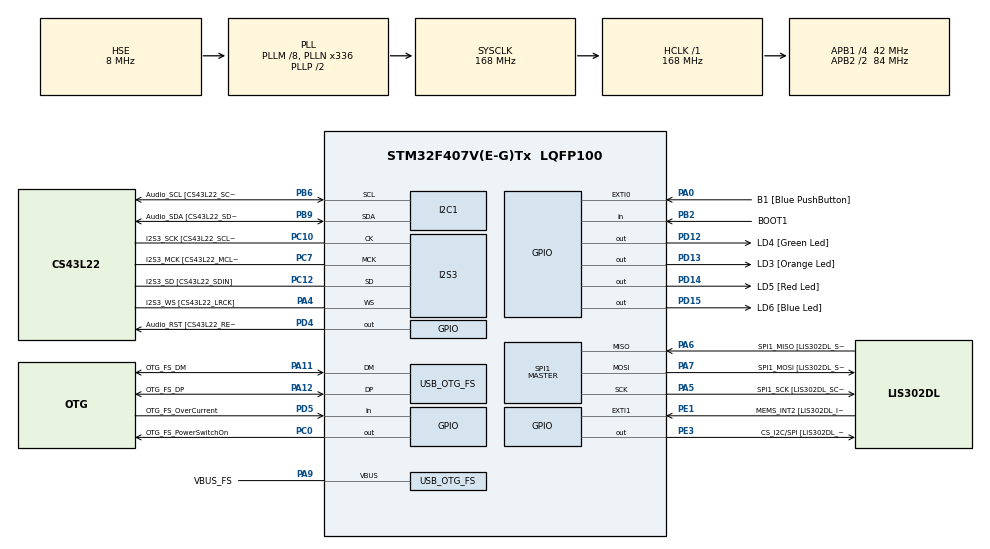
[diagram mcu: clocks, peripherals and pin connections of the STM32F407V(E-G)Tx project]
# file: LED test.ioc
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I2S3.AudioFreq-Half_Duplex_Master=I2S_AUDIOFREQ_96K
I2S3.ErrorAudioFreq=-2.34 %
I2S3.ErrorAudioFreq-Half_Duplex_Master=0.8 %
I2S3.FullDuplexMode=I2S_FULLDUPLEXMODE_DISABLE
I2S3.Instance=SPI$Index
I2S3.RealAudioFreq=93.75 KHz
I2S3.RealAudioFreq-Half_Duplex_Master=96.774 KHz
I2S3.VirtualMode=I2S_MODE_MASTER
Mcu.Family=STM32F4
Mcu.Name=STM32F407V(E-G)Tx
Mcu.Package=LQFP100
NVIC.OTG_FS_IRQn=true\:0\:0\:false\:false\:true\:true\:true
NVIC.PriorityGroup=NVIC_PRIORITYGROUP_0
PA0-WKUP.GPIO_Label=B1 [Blue PushButton]
PA0-WKUP.GPIO_ModeDefaultEXTI=GPIO_MODE_EVT_RISING
PA0-WKUP.GPIO_PuPd=GPIO_NOPULL
PA0-WKUP.Signal=GPXTI0
PA10.GPIO_Label=OTG_FS_ID
PA10.GPIO_Mode=GPIO_MODE_AF_PP
PA10.GPIO_PuPd=GPIO_NOPULL
PA10.GPIO_Speed=GPIO_SPEED_FREQ_LOW
PA10.Signal=USB_OTG_FS_ID
PA11.GPIO_Label=OTG_FS_DM
PA11.GPIO_Mode=GPIO_MODE_AF_PP
PA11.GPIO_PuPd=GPIO_NOPULL
PA11.GPIO_Speed=GPIO_SPEED_FREQ_LOW
PA11.Mode=Host_Only
PA11.Signal=USB_OTG_FS_DM
PA12.GPIO_Label=OTG_FS_DP
PA12.GPIO_Mode=GPIO_MODE_AF_PP
PA12.GPIO_PuPd=GPIO_NOPULL
PA12.GPIO_Speed=GPIO_SPEED_FREQ_LOW
PA12.Mode=Host_Only
PA12.Signal=USB_OTG_FS_DP
PA13.GPIO_Label=SWDIO
PA13.Mode=Serial_Wire
PA13.Signal=SYS_JTMS-SWDIO
PA14.GPIO_Label=SWCLK
PA14.Mode=Serial_Wire
PA14.Signal=SYS_JTCK-SWCLK
PA4.GPIO_Label=I2S3_WS [CS43L22_LRCK]
PA4.GPIO_Mode=GPIO_MODE_AF_PP
PA4.GPIO_PuPd=GPIO_NOPULL
PA4.GPIO_Speed=GPIO_SPEED_FREQ_LOW
PA4.Mode=Half_Duplex_Master
PA4.Signal=I2S3_WS
PA5.GPIO_Label=SPI1_SCK [LIS302DL_SCL/SPC]
PA5.GPIO_Mode=GPIO_MODE_AF_PP
PA5.GPIO_PuPd=GPIO_NOPULL
PA5.GPIO_Speed=GPIO_SPEED_FREQ_LOW
PA5.Mode=Full_Duplex_Master
PA5.Signal=SPI1_SCK
PA6.GPIO_Label=SPI1_MISO [LIS302DL_SDO]
PA6.GPIO_Mode=GPIO_MODE_AF_PP
PA6.GPIO_PuPd=GPIO_NOPULL
PA6.GPIO_Speed=GPIO_SPEED_FREQ_LOW
PA6.Mode=Full_Duplex_Master
PA6.Signal=SPI1_MISO
PA7.GPIO_Label=SPI1_MOSI [LIS302DL_SDA/SDI/SDO]
PA7.GPIO_Mode=GPIO_MODE_AF_PP
PA7.GPIO_PuPd=GPIO_NOPULL
PA7.GPIO_Speed=GPIO_SPEED_FREQ_LOW
PA7.Mode=Full_Duplex_Master
PA7.Signal=SPI1_MOSI
PA9.GPIO_Label=VBUS_FS
PA9.GPIO_Mode=GPIO_MODE_INPUT
PA9.GPIO_PuPd=GPIO_NOPULL
PA9.Mode=Activate_VBUS
PA9.Signal=USB_OTG_FS_VBUS
PB10.GPIO_Label=CLK_IN [MP45DT02_CLK]
PB10.GPIO_Mode=GPIO_MODE_AF_PP
PB10.GPIO_PuPd=GPIO_NOPULL
PB10.GPIO_Speed=GPIO_SPEED_FREQ_LOW
PB10.Signal=I2S2_CK
PB2.GPIO_Label=BOOT1
PB2.GPIO_Mode=GPIO_MODE_INPUT
PB2.GPIO_PuPd=GPIO_NOPULL
PB2.Signal=GPIO_Input
PB3.GPIO_Label=SWO
PB3.Signal=SYS_JTDO-SWO
PB6.GPIO_Label=Audio_SCL [CS43L22_SCL]
PB6.GPIO_Mode=GPIO_MODE_AF_OD
PB6.GPIO_PuPd=GPIO_NOPULL
PB6.GPIO_Speed=GPIO_SPEED_FREQ_LOW
PB6.Mode=I2C
PB6.Signal=I2C1_SCL
PB9.GPIO_Label=Audio_SDA [CS43L22_SDA]
PB9.GPIO_Mode=GPIO_MODE_AF_OD
PB9.GPIO_PuPd=GPIO_NOPULL
PB9.GPIO_Speed=GPIO_SPEED_FREQ_LOW
PB9.Mode=I2C
PB9.Signal=I2C1_SDA
PC0.GPIO_Label=OTG_FS_PowerSwitchOn
PC0.GPIO_PuPd=GPIO_NOPULL
PC0.GPIO_Speed=GPIO_SPEED_FREQ_LOW
PC0.PinState=GPIO_PIN_SET
PC0.Signal=GPIO_Output
PC10.GPIO_Label=I2S3_SCK [CS43L22_SCLK]
PC10.GPIO_Mode=GPIO_MODE_AF_PP
PC10.GPIO_PuPd=GPIO_NOPULL
PC10.GPIO_Speed=GPIO_SPEED_FREQ_LOW
PC10.Mode=Half_Duplex_Master
PC10.Signal=I2S3_CK
PC12.GPIO_Label=I2S3_SD [CS43L22_SDIN]
PC12.GPIO_Mode=GPIO_MODE_AF_PP
PC12.GPIO_PuPd=GPIO_NOPULL
PC12.GPIO_Speed=GPIO_SPEED_FREQ_LOW
PC12.Mode=Half_Duplex_Master
PC12.Signal=I2S3_SD
PC14-OSC32_IN.GPIO_Label=PC14-OSC32_IN
PC14-OSC32_IN.Mode=LSE-External-Oscillator
PC14-OSC32_IN.Signal=RCC_OSC32_IN
PC15-OSC32_OUT.GPIO_Label=PC15-OSC32_OUT
PC15-OSC32_OUT.Mode=LSE-External-Oscillator
PC15-OSC32_OUT.Signal=RCC_OSC32_OUT
PC3.GPIO_Label=PDM_OUT [MP45DT02_DOUT]
PC3.GPIO_Mode=GPIO_MODE_AF_PP
PC3.GPIO_PuPd=GPIO_NOPULL
PC3.GPIO_Speed=GPIO_SPEED_FREQ_LOW
PC3.Signal=I2S2_SD
PC7.GPIO_Label=I2S3_MCK [CS43L22_MCLK]
PC7.GPIO_Mode=GPIO_MODE_AF_PP
PC7.GPIO_PuPd=GPIO_NOPULL
PC7.GPIO_Speed=GPIO_SPEED_FREQ_LOW
PC7.Mode=Master_Clock_Activated
PC7.Signal=I2S3_MCK
PD12.GPIO_Label=LD4 [Green Led]
PD12.GPIO_PuPd=GPIO_NOPULL
PD12.GPIO_Speed=GPIO_SPEED_FREQ_LOW
PD12.Signal=GPIO_Output
PD13.GPIO_Label=LD3 [Orange Led]
PD13.GPIO_PuPd=GPIO_NOPULL
PD13.GPIO_Speed=GPIO_SPEED_FREQ_LOW
PD13.Signal=GPIO_Output
PD14.GPIO_Label=LD5 [Red Led]
PD14.GPIO_PuPd=GPIO_NOPULL
PD14.GPIO_Speed=GPIO_SPEED_FREQ_LOW
PD14.Signal=GPIO_Output
PD15.GPIO_Label=LD6 [Blue Led]
PD15.GPIO_PuPd=GPIO_NOPULL
PD15.GPIO_Speed=GPIO_SPEED_FREQ_LOW
PD15.Signal=GPIO_Output
PD4.GPIO_Label=Audio_RST [CS43L22_RESET]
PD4.GPIO_PuPd=GPIO_NOPULL
PD4.GPIO_Speed=GPIO_SPEED_FREQ_LOW
PD4.Signal=GPIO_Output
PD5.GPIO_Label=OTG_FS_OverCurrent
PD5.GPIO_Mode=GPIO_MODE_INPUT
PD5.GPIO_PuPd=GPIO_NOPULL
PD5.Signal=GPIO_Input
PE1.GPIO_Label=MEMS_INT2 [LIS302DL_INT2]
PE1.GPIO_ModeDefaultEXTI=GPIO_MODE_EVT_RISING
PE1.GPIO_PuPd=GPIO_NOPULL
PE1.Signal=GPXTI1
PE3.GPIO_Label=CS_I2C/SPI [LIS302DL_CS_I2C/SPI]
PE3.GPIO_PuPd=GPIO_NOPULL
PE3.GPIO_Speed=GPIO_SPEED_FREQ_LOW
PE3.Signal=GPIO_Output
PH0-OSC_IN.GPIO_Label=PH0-OSC_IN
PH0-OSC_IN.Mode=HSE-External-Oscillator
PH0-OSC_IN.Signal=RCC_OSC_IN
PH1-OSC_OUT.GPIO_Label=PH1-OSC_OUT
PH1-OSC_OUT.Mode=HSE-External-Oscillator
PH1-OSC_OUT.Signal=RCC_OSC_OUT
ProjectManager.HeapSize=0x200
ProjectManager.StackSize=0x400
ProjectManager.TargetToolchain=TrueSTUDIO
RCC.48MHZClocksFreq_Value=48000000
RCC.AHBFreq_Value=168000000
RCC.APB1CLKDivider=RCC_HCLK_DIV4
RCC.APB1Freq_Value=42000000
RCC.APB1TimFreq_Value=84000000
RCC.APB2CLKDivider=RCC_HCLK_DIV2
RCC.APB2Freq_Value=84000000
RCC.APB2TimFreq_Value=168000000
RCC.CortexFreq_Value=168000000
RCC.HCLKFreq_Value=168000000
RCC.HSE_VALUE=8000000
RCC.HSI_VALUE=16000000
RCC.PLLM=8
RCC.PLLN=336
RCC.PLLQ=7
RCC.SYSCLKFreq_VALUE=168000000
RCC.SYSCLKSource=RCC_SYSCLKSOURCE_PLLCLK
RCC.VCOOutputFreq_Value=336000000
SPI1.BaudRatePrescaler-Full_Duplex_Master=SPI_BAUDRATEPRESCALER_2
SPI1.CalculateBaudRate-Full_Duplex_Master=42.0 MBits/s
SPI1.Direction=SPI_DIRECTION_2LINES
SPI1.Mode=SPI_MODE_MASTER
SPI1.Mode-Full_Duplex_Master=SPI_MODE_MASTER
SPI1.VirtualType=VM_MASTER
USB_HOST.BSP.number=1
USB_HOST.USBH_HandleTypeDef-CDC_FS=hUsbHostFS
USB_HOST.VirtualModeFS=Cdc
USB_HOST0.BSP.STBoard=false
USB_HOST0.BSP.api=Unknown
USB_HOST0.BSP.i2caddr=0
USB_HOST0.BSP.i2creg=0
USB_HOST0.BSP.instance=PC0
USB_HOST0.BSP.ip=GPIO
USB_HOST0.BSP.mode=Output
USB_HOST0.BSP.name=Drive_VBUS_FS
USB_HOST0.BSP.solution=PC0
USB_OTG_FS.VirtualMode=Host_Only
USB_OTG_FS.phy_itface=HCD_PHY_EMBEDDED
VP_USB_HOST_VS_USB_HOST_CDC_FS.Mode=CDC_FS
board=STM32F407G-DISC1

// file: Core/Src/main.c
/* USER CODE BEGIN Header */
/**
  ******************************************************************************
  * @file           : main.c
  * @brief          : Main program body
  ******************************************************************************
  * @attention
  *
  * <h2><center>&copy; Copyright (c) 2020 STMicroelectronics.
  * All rights reserved.</center></h2>
  *
  * This software component is licensed by ST under Ultimate Liberty license
  * SLA0044, the "License"; You may not use this file except in compliance with
  * the License. You may obtain a copy of the License at:
  *                             www.st.com/SLA0044
  *
  ******************************************************************************
  */
/* USER CODE END Header */
#include "main.h"
#include "i2c.h"
#include "i2s.h"
#include "spi.h"
#include "usb_host.h"
#include "gpio.h"

void SystemClock_Config(void);
void MX_USB_HOST_Process(void);

int main(void)
{

  /* MCU Configuration--------------------------------------------------------*/

  /* Reset of all peripherals, Initializes the Flash interface and the Systick. */
  HAL_Init();

  /* Configure the system clock */
  SystemClock_Config();

  /* Initialize all configured peripherals */
  MX_GPIO_Init();
  MX_I2C1_Init();
  MX_I2S3_Init();
  MX_SPI1_Init();
  MX_USB_HOST_Init();
  /* USER CODE BEGIN 2 */

  // All of LDs get off
  HAL_GPIO_WritePin(GPIOD, GPIO_PIN_12, GPIO_PIN_RESET);	// LD4 off
  HAL_GPIO_WritePin(GPIOD, GPIO_PIN_13, GPIO_PIN_RESET);	// LD3 off
  HAL_GPIO_WritePin(GPIOD, GPIO_PIN_14, GPIO_PIN_RESET);	// LD5 off
  HAL_GPIO_WritePin(GPIOD, GPIO_PIN_15, GPIO_PIN_RESET);	// LD6 off

  /* USER CODE END 2 */

  /* Infinite loop */
  /* USER CODE BEGIN WHILE */
  while (1)
  {
	  // 1. LD4 on -> wait for 1000ms -> LD4 off
	  HAL_GPIO_WritePin(GPIOD, GPIO_PIN_12, GPIO_PIN_SET);		// LD4 on
	  HAL_Delay(1000);
	  HAL_GPIO_WritePin(GPIOD, GPIO_PIN_12, GPIO_PIN_RESET);	// LD4 off

	  // 2. LD3 on -> wait for 1000ms -> LD3 off
	  HAL_GPIO_WritePin(GPIOD, GPIO_PIN_13, GPIO_PIN_SET);		// LD3 on
	  HAL_Delay(1000);
	  HAL_GPIO_WritePin(GPIOD, GPIO_PIN_13, GPIO_PIN_RESET);	// LD3 off

	  // 3. LD5 on -> wait for 1000ms -> LD5 off
	  HAL_GPIO_WritePin(GPIOD, GPIO_PIN_14, GPIO_PIN_SET);		// LD5 on
	  HAL_Delay(1000);
	  HAL_GPIO_WritePin(GPIOD, GPIO_PIN_14, GPIO_PIN_RESET);	// LD5 off

	  // 4. LD6 on -> wait for 1000ms -> LD6 off
	  HAL_GPIO_WritePin(GPIOD, GPIO_PIN_15, GPIO_PIN_SET);		// LD6 on
	  HAL_Delay(1000);
	  HAL_GPIO_WritePin(GPIOD, GPIO_PIN_15, GPIO_PIN_RESET);	// LD6 off

    /* USER CODE END WHILE */
    MX_USB_HOST_Process();

  }
}

void SystemClock_Config(void)
{
  RCC_OscInitTypeDef RCC_OscInitStruct = {0};
  RCC_ClkInitTypeDef RCC_ClkInitStruct = {0};
  RCC_PeriphCLKInitTypeDef PeriphClkInitStruct = {0};

  /** Configure the main internal regulator output voltage
  */
  __HAL_RCC_PWR_CLK_ENABLE();
  __HAL_PWR_VOLTAGESCALING_CONFIG(PWR_REGULATOR_VOLTAGE_SCALE1);
  /** Initializes the RCC Oscillators according to the specified parameters
  * in the RCC_OscInitTypeDef structure.
  */
  RCC_OscInitStruct.OscillatorType = RCC_OSCILLATORTYPE_HSE;
  RCC_OscInitStruct.HSEState = RCC_HSE_ON;
  RCC_OscInitStruct.PLL.PLLState = RCC_PLL_ON;
  RCC_OscInitStruct.PLL.PLLSource = RCC_PLLSOURCE_HSE;
  RCC_OscInitStruct.PLL.PLLM = 8;
  RCC_OscInitStruct.PLL.PLLN = 336;
  RCC_OscInitStruct.PLL.PLLP = RCC_PLLP_DIV2;
  RCC_OscInitStruct.PLL.PLLQ = 7;
  if (HAL_RCC_OscConfig(&RCC_OscInitStruct) != HAL_OK)
  {
    Error_Handler();
  }
  /** Initializes the CPU, AHB and APB buses clocks
  */
  RCC_ClkInitStruct.ClockType = RCC_CLOCKTYPE_HCLK|RCC_CLOCKTYPE_SYSCLK
                              |RCC_CLOCKTYPE_PCLK1|RCC_CLOCKTYPE_PCLK2;
  RCC_ClkInitStruct.SYSCLKSource = RCC_SYSCLKSOURCE_PLLCLK;
  RCC_ClkInitStruct.AHBCLKDivider = RCC_SYSCLK_DIV1;
  RCC_ClkInitStruct.APB1CLKDivider = RCC_HCLK_DIV4;
  RCC_ClkInitStruct.APB2CLKDivider = RCC_HCLK_DIV2;

  if (HAL_RCC_ClockConfig(&RCC_ClkInitStruct, FLASH_LATENCY_5) != HAL_OK)
  {
    Error_Handler();
  }
  PeriphClkInitStruct.PeriphClockSelection = RCC_PERIPHCLK_I2S;
  PeriphClkInitStruct.PLLI2S.PLLI2SN = 192;
  PeriphClkInitStruct.PLLI2S.PLLI2SR = 2;
  if (HAL_RCCEx_PeriphCLKConfig(&PeriphClkInitStruct) != HAL_OK)
  {
    Error_Handler();
  }
}

void Error_Handler(void)
{
}

/************************ (C) COPYRIGHT STMicroelectronics *****END OF FILE****/
